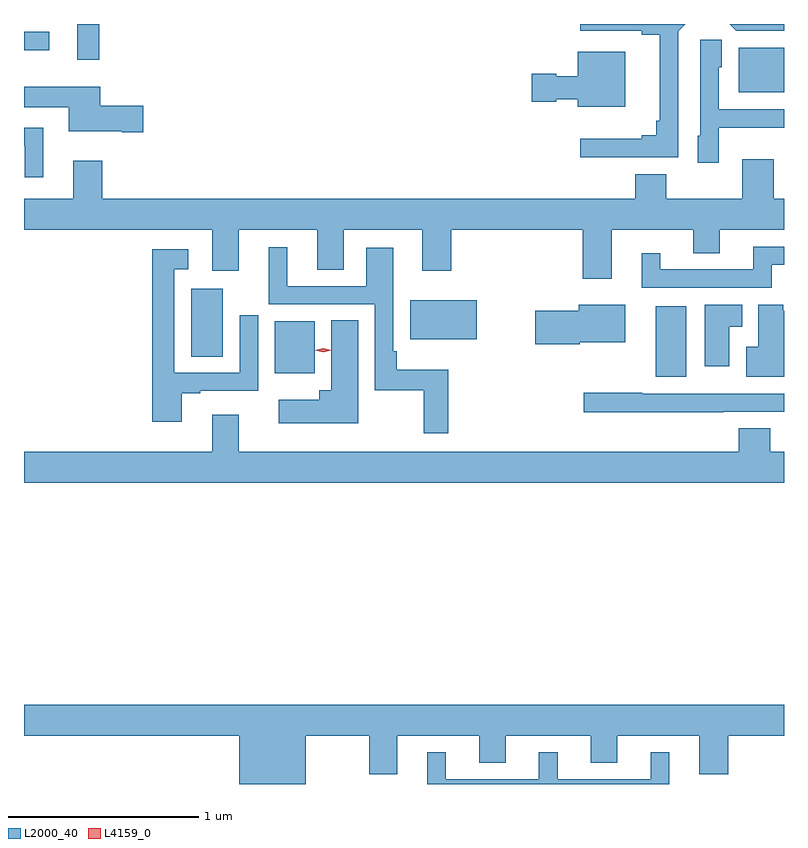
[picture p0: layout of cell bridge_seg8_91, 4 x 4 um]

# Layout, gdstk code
import gdstk
lib = gdstk.Library(unit=1e-6, precision=1e-09)
def R(c, l, rs):  # rectangles x0, y0, x1, y1
    for r in rs: c.add(gdstk.rectangle(r[:2], r[2:], *l))
def P(c, l, *ps):  # polygons
    for p in ps: c.add(gdstk.Polygon(p, *l))
L2000_40 = (2000, 40)
L4159_0 = (4159, 0)

bridge_seg8_91 = lib.new_cell('bridge_seg8_91')
R(bridge_seg8_91, L2000_40, [(666.821,1103.738,666.982,1104.109), (664.817,1103.756,665.026,1104.031), (664.376,1103.845,664.543,1104.202), (665.528,1103.936,665.878,1104.142), (667.259,1105.235,667.496,1105.471), (663.776,1105.407,663.893,1105.595), (663.496,1105.457,663.628,1105.554)])
P(bridge_seg8_91, L2000_40, [(667.496,1105.595),(667.21,1105.595),(667.245,1105.56),(667.496,1105.56)],
  [(666.939,1105.557),(666.977,1105.595),(666.423,1105.595),(666.423,1105.56),(666.746,1105.56),(666.746,1105.538),(666.842,1105.538),(666.842,1105.087),(666.823,1105.087),(666.823,1105.01),(666.746,1105.01),(666.746,1104.991),(666.423,1104.991),(666.423,1104.894),(666.939,1104.894)],
  [(667.152,1105.049),(667.469,1105.049),(667.469,1105.05),(667.496,1105.05),(667.496,1105.146),(667.152,1105.146),(667.152,1105.368),(667.168,1105.368),(667.168,1105.511),(667.056,1105.511),(667.056,1105.008),(667.043,1105.008),(667.043,1104.864),(667.152,1104.864)],
  [(666.661,1105.45),(666.41,1105.45),(666.41,1105.321),(666.297,1105.321),(666.297,1105.334),(666.168,1105.334),(666.168,1105.187),(666.297,1105.187),(666.297,1105.199),(666.41,1105.199),(666.41,1105.16),(666.661,1105.16)],
  [(664.123,1105.166),(663.898,1105.166),(663.898,1105.264),(663.496,1105.264),(663.496,1105.157),(663.731,1105.157),(663.731,1105.031),(664.01,1105.031),(664.01,1105.024),(664.123,1105.024)],
  [(663.598,1105.05),(663.496,1105.05),(663.496,1104.954),(663.5,1104.954),(663.5,1104.789),(663.598,1104.789)],
  [(666.589,1104.512),(667.019,1104.512),(667.019,1104.388),(667.159,1104.388),(667.159,1104.512),(667.496,1104.512),(667.496,1104.676),(667.441,1104.676),(667.441,1104.883),(667.277,1104.883),(667.277,1104.676),(666.877,1104.676),(666.877,1104.805),(666.713,1104.805),(666.713,1104.676),(663.908,1104.676),(663.908,1104.874),(663.755,1104.874),(663.755,1104.676),(663.496,1104.676),(663.496,1104.512),(664.487,1104.512),(664.487,1104.297),(664.627,1104.297),(664.627,1104.512),(665.039,1104.512),(665.039,1104.301),(665.179,1104.301),(665.179,1104.512),(665.591,1104.512),(665.591,1104.297),(665.744,1104.297),(665.744,1104.512),(666.437,1104.512),(666.437,1104.255),(666.589,1104.255)],
  [(667.432,1104.327),(667.496,1104.327),(667.496,1104.423),(667.334,1104.423),(667.334,1104.303),(666.844,1104.303),(666.844,1104.388),(666.746,1104.388),(666.746,1104.207),(667.432,1104.207)],
  [(665.729,1103.776),(665.459,1103.776),(665.459,1103.872),(665.439,1103.872),(665.439,1104.418),(665.297,1104.418),(665.297,1104.216),(664.882,1104.216),(664.882,1104.421),(664.783,1104.421),(664.783,1104.12),(665.343,1104.12),(665.343,1103.667),(665.601,1103.667),(665.601,1103.442),(665.729,1103.442)],
  [(664.327,1103.652),(664.423,1103.652),(664.423,1103.664),(664.728,1103.664),(664.728,1104.061),(664.632,1104.061),(664.632,1103.76),(664.287,1103.76),(664.287,1104.303),(664.36,1104.303),(664.36,1104.409),(664.171,1104.409),(664.171,1103.502),(664.327,1103.502)],
  [(666.42,1103.921),(666.661,1103.921),(666.661,1104.118),(666.416,1104.118),(666.416,1104.087),(666.186,1104.087),(666.186,1103.909),(666.42,1103.909)],
  [(667.496,1104.085),(667.491,1104.085),(667.491,1104.118),(667.361,1104.118),(667.361,1103.896),(667.296,1103.896),(667.296,1103.738),(667.496,1103.738)],
  [(667.207,1104.002),(667.276,1104.002),(667.276,1104.118),(667.079,1104.118),(667.079,1103.793),(667.207,1103.793)],
  [(665.254,1104.035),(665.114,1104.035),(665.114,1103.668),(665.051,1103.668),(665.051,1103.617),(664.836,1103.617),(664.836,1103.495),(665.254,1103.495)],
  [(667.175,1103.553),(667.496,1103.553),(667.496,1103.649),(666.749,1103.649),(666.749,1103.654),(666.441,1103.654),(666.441,1103.552),(667.175,1103.552)],
  [(667.496,1103.344),(667.424,1103.344),(667.424,1103.468),(667.259,1103.468),(667.259,1103.344),(664.627,1103.344),(664.627,1103.539),(664.487,1103.539),(664.487,1103.344),(663.496,1103.344),(663.496,1103.18),(667.496,1103.18)],
  [(664.978,1101.848),(665.314,1101.848),(665.314,1101.646),(665.461,1101.646),(665.461,1101.848),(665.891,1101.848),(665.891,1101.706),(666.031,1101.706),(666.031,1101.848),(666.479,1101.848),(666.479,1101.706),(666.619,1101.706),(666.619,1101.848),(667.049,1101.848),(667.049,1101.646),(667.202,1101.646),(667.202,1101.848),(667.496,1101.848),(667.496,1102.012),(663.496,1102.012),(663.496,1101.848),(664.628,1101.848),(664.628,1101.595),(664.978,1101.595)],
  [(666.892,1101.763),(666.794,1101.763),(666.794,1101.621),(666.304,1101.621),(666.304,1101.763),(666.206,1101.763),(666.206,1101.621),(665.716,1101.621),(665.716,1101.763),(665.618,1101.763),(665.618,1101.595),(666.892,1101.595)])
P(bridge_seg8_91, L4159_0, [(665.071,1103.868),(665.03,1103.878),(665.03,1103.878),(665.03,1103.878),(665.071,1103.888),(665.112,1103.878),(665.112,1103.878),(665.112,1103.878)])

lib.write_gds('bridge_seg8_91.gds')
